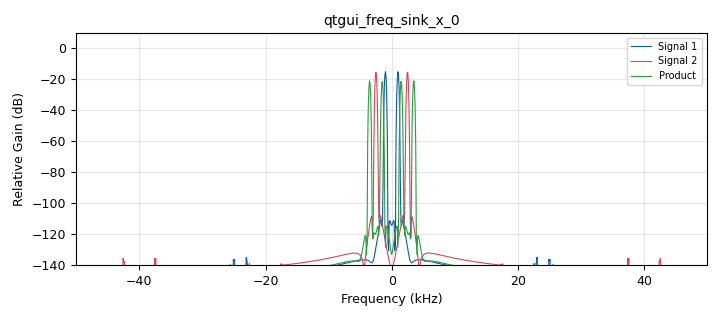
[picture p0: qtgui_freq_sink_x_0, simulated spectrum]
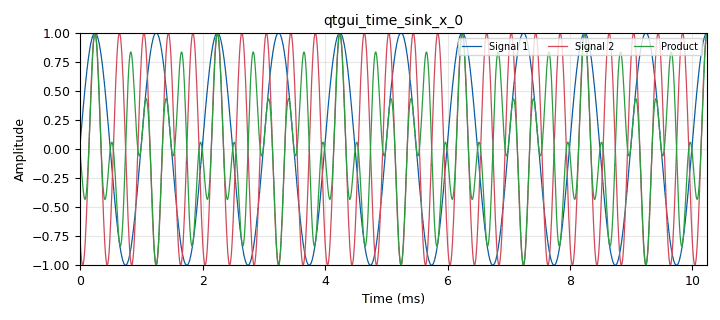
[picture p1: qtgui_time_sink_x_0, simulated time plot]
options:
  parameters:
    author: jason
    generate_options: qt_gui
    generator_class_name: PythonQtGuiGenerator
    generator_module: gnuradio.grc.workflows.python_qt_gui
    id: lesson03hw4_complexPlotsMultiplyCosines
    output_language: python
    title: complexPlotsMultiplyCosines
  states: {}

blocks:
- name: freq1
  id: variable_qtgui_range
  parameters:
    start: '-samp_rate'
    step: '1'
    stop: samp_rate
    value: samp_rate/100
  states: {}
- name: freq2
  id: variable_qtgui_range
  parameters:
    start: '-samp_rate'
    step: '1'
    stop: samp_rate
    value: samp_rate/40
  states: {}
- name: samp_rate
  id: variable
  parameters:
    value: 100e3
  states: {}
- name: analog_sig_source_x_0
  id: analog_sig_source_x
  parameters:
    amp: '1'
    freq: freq1
    offset: '0'
    phase: '0'
    samp_rate: samp_rate
    type: float
    waveform: analog.GR_COS_WAVE
  states: {}
- name: analog_sig_source_x_0_0
  id: analog_sig_source_x
  parameters:
    amp: '1'
    freq: freq2
    offset: '0'
    phase: '0'
    samp_rate: samp_rate
    type: float
    waveform: analog.GR_COS_WAVE
  states: {}
- name: blocks_multiply_xx_0
  id: blocks_multiply_xx
  parameters:
    type: float
  states: {}
- name: blocks_throttle_0
  id: blocks_throttle2
  parameters:
    samples_per_second: samp_rate
    type: float
  states: {}
- name: qtgui_freq_sink_x_0
  id: qtgui_freq_sink_x
  parameters:
    bw: samp_rate
    fc: '0'
    fftsize: '1024'
    label1: Signal 1
    label2: Signal 2
    label3: Product
    nconnections: '3'
    type: float
  states: {}
- name: qtgui_time_sink_x_0
  id: qtgui_time_sink_x
  parameters:
    label3: Product
    nconnections: '3'
    size: '1024'
    srate: samp_rate
    type: float
  states: {}

connections:
- [analog_sig_source_x_0, '0', blocks_multiply_xx_0, '0']
- [analog_sig_source_x_0, '0', qtgui_freq_sink_x_0, '0']
- [analog_sig_source_x_0, '0', qtgui_time_sink_x_0, '0']
- [analog_sig_source_x_0_0, '0', blocks_multiply_xx_0, '1']
- [analog_sig_source_x_0_0, '0', qtgui_freq_sink_x_0, '1']
- [analog_sig_source_x_0_0, '0', qtgui_time_sink_x_0, '1']
- [blocks_multiply_xx_0, '0', blocks_throttle_0, '0']
- [blocks_throttle_0, '0', qtgui_freq_sink_x_0, '2']
- [blocks_throttle_0, '0', qtgui_time_sink_x_0, '2']

metadata:
  file_format: 1
  grc_version: 3.10.12.0
